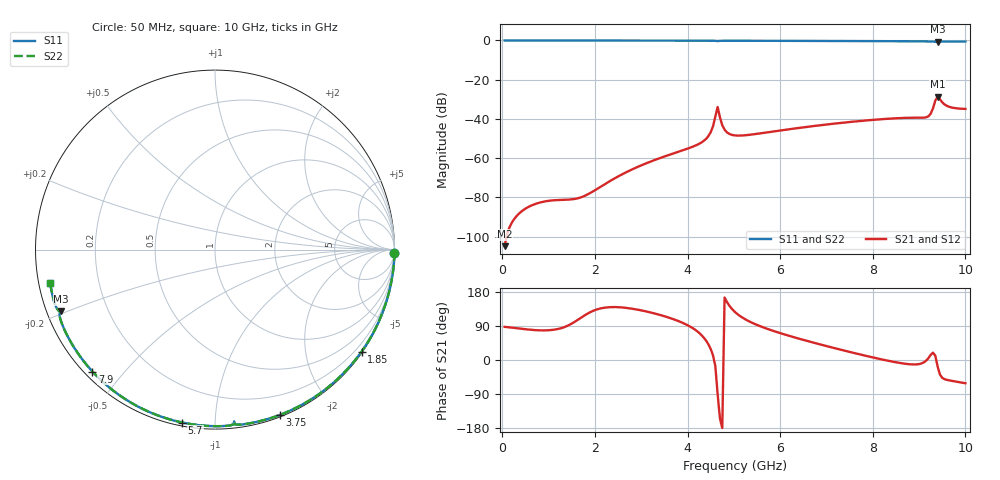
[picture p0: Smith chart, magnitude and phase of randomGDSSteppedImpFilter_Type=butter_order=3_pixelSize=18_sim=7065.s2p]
! freq	dB(S11)	phase(S11)	dB(S12)	phase(S12)
!  dB(S21)	phase(S21)	dB(S22)	phase(S22)
!S-par simulation data
#  GHz  S  DB  R 50
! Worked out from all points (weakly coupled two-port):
!   200 points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, 50 MHz to 10 GHz, reference 50 ohm
!   highest |S21| = -28.65 dB at 9.4 GHz (marker M1); lowest = -104.8 dB at 50 MHz (marker M2)
!   lowest |S11| = -0.7 dB at 9.4 GHz (marker M3), VSWR 25.08, Z = 2.07 - j9.66 ohm
!   |S11| at or under -10 dB: nowhere
!   |S22| runs from -0.7 to 0.0 dB; largest |S21 - S12| = 0
!   S11 on the Smith chart (normalised r, x): 50 MHz: open; 1.85 GHz: 0.03, -3.19; 3.75 GHz: 0.02, -1.46; 5.7 GHz: 0.02, -0.83; 7.9 GHz: 0.02, -0.41; 10 GHz: 0.03, -0.10
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0.05  -0.00 -1.0  -104.82 87.4  -104.82 87.4  -0.00 -1.0
1.75  -0.04 -33.0  -79.47 115.7  -79.47 115.7  -0.04 -33.0
1.85  -0.04 -34.8  -78.36 123.0  -78.36 123.0  -0.04 -34.8
2.65  -0.06 -49.4  -67.45 137.9  -67.45 137.9  -0.06 -49.3
3.4  -0.08 -62.6  -59.97 119.1  -59.97 119.1  -0.08 -62.6
3.75  -0.09 -68.7  -57.12 105.3  -57.12 105.3  -0.09 -68.6
4.2  -0.11 -76.3  -53.26 76.6  -53.26 76.6  -0.11 -76.3
4.4  -0.12 -79.8  -50.16 51.2  -50.16 51.2  -0.12 -79.8
4.55  -0.14 -82.5  -43.75 12.4  -43.75 12.4  -0.14 -82.5
4.65  -0.33 -83.6  -33.90 -90.1  -33.90 -90.1  -0.33 -83.6
4.75  -0.15 -85.0  -43.19 -179.5  -43.19 -179.5  -0.15 -85.0
4.8  -0.14 -86.0  -45.46 164.9  -45.46 164.9  -0.14 -85.9
5.05  -0.14 -90.2  -48.44 123.9  -48.44 123.9  -0.14 -90.2
5.7  -0.17 -100.7  -46.91 83.2  -46.91 83.2  -0.17 -100.7
6.7  -0.23 -116.5  -43.68 46.4  -43.68 46.4  -0.23 -116.5
7.9  -0.33 -135.1  -40.67 9.6  -40.67 9.6  -0.33 -135.1
8.35  -0.37 -142.2  -39.86 -2.5  -39.86 -2.5  -0.37 -142.1
9.2  -0.50 -156.0  -38.66 4.7  -38.66 4.7  -0.50 -155.9
9.25  -0.53 -156.9  -37.36 13.3  -37.36 13.3  -0.53 -156.8
9.4  -0.69 -158.1  -28.65 -17.0  -28.65 -17.0  -0.69 -158.0
9.6  -0.52 -161.6  -33.32 -52.5  -33.32 -52.5  -0.52 -161.5
10  -0.56 -168.5  -34.88 -61.3  -34.88 -61.3  -0.56 -168.4
